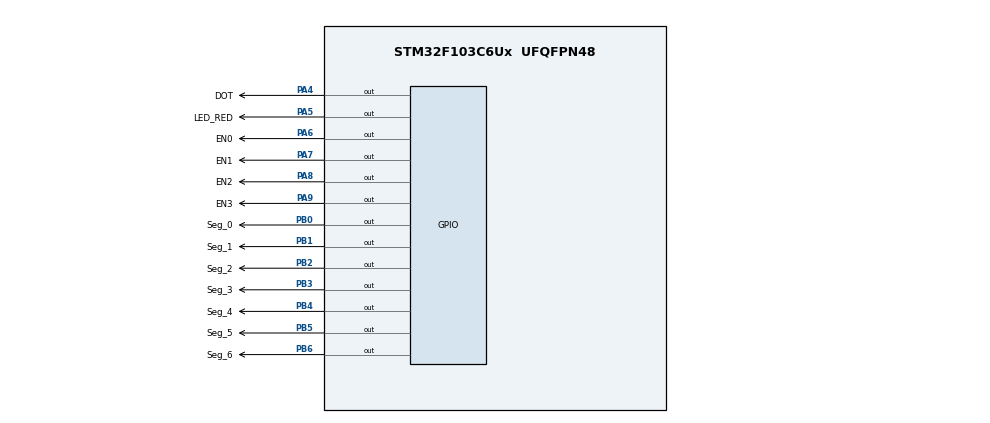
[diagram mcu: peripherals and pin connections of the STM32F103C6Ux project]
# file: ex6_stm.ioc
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Mcu.Family=STM32F1
Mcu.Name=STM32F103C6Ux
Mcu.Package=UFQFPN48
NVIC.PriorityGroup=NVIC_PRIORITYGROUP_4
NVIC.TIM2_IRQn=true\:0\:0\:false\:false\:true\:true\:true
PA4.GPIO_Label=DOT
PA4.Signal=GPIO_Output
PA5.GPIO_Label=LED_RED
PA5.Signal=GPIO_Output
PA6.GPIO_Label=EN0
PA6.Signal=GPIO_Output
PA7.GPIO_Label=EN1
PA7.Signal=GPIO_Output
PA8.GPIO_Label=EN2
PA8.Signal=GPIO_Output
PA9.GPIO_Label=EN3
PA9.Signal=GPIO_Output
PB0.GPIO_Label=Seg_0
PB0.Signal=GPIO_Output
PB1.GPIO_Label=Seg_1
PB1.Signal=GPIO_Output
PB2.GPIO_Label=Seg_2
PB2.Signal=GPIO_Output
PB3.GPIO_Label=Seg_3
PB3.Signal=GPIO_Output
PB4.GPIO_Label=Seg_4
PB4.Signal=GPIO_Output
PB5.GPIO_Label=Seg_5
PB5.Signal=GPIO_Output
PB6.GPIO_Label=Seg_6
PB6.Signal=GPIO_Output
ProjectManager.HeapSize=0x200
ProjectManager.StackSize=0x400
ProjectManager.TargetToolchain=STM32CubeIDE
RCC.APB1Freq_Value=8000000
RCC.APB2Freq_Value=8000000
TIM2.Period=9
TIM2.Prescaler=7999
VP_SYS_VS_ND.Mode=No_Debug
VP_TIM2_VS_ClockSourceINT.Mode=Internal
board=custom

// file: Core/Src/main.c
/* USER CODE BEGIN Header */
/**
  ******************************************************************************
  * @file           : main.c
  * @brief          : Main program body
  ******************************************************************************
  * @attention
  *
  * <h2><center>&copy; Copyright (c) 2023 STMicroelectronics.
  * All rights reserved.</center></h2>
  *
  * This software component is licensed by ST under BSD 3-Clause license,
  * the "License"; You may not use this file except in compliance with the
  * License. You may obtain a copy of the License at:
  *                        opensource.org/licenses/BSD-3-Clause
  *
  ******************************************************************************
  */
/* USER CODE END Header */
#include "main.h"

TIM_HandleTypeDef htim2;

void SystemClock_Config(void);
static void MX_GPIO_Init(void);
static void MX_TIM2_Init(void);

/* USER CODE BEGIN 0 */

int timer0_flag = 0;
int timer0_counter = 0;
int TIMER_CYCLE = 10;

void setTimer0(int duration)
{
	timer0_counter = duration/TIMER_CYCLE;
	timer0_flag = 0;
}

void timerRun()
{
	if(timer0_counter > 0){
		timer0_counter--;
		if(timer0_counter <= 0){
			timer0_flag = 1;
		}
	}
}
int hour, minute, second;
const int MAX_LED = 4;
int index_led = 0;
int led_buffer [4] = {6, 7, 8, 9};
int counter_LEDRED = 100;
int counter_LED7SEG = 25;

void updateClockBuffer ()
{
	led_buffer[0] = hour / 10;
	led_buffer [1] = hour % 10;
	led_buffer [2] = minute / 10;
	led_buffer [3] = minute % 10;
}
/* USER CODE END 0 */

int main(void)
{

  /* MCU Configuration--------------------------------------------------------*/

  /* Reset of all peripherals, Initializes the Flash interface and the Systick. */
  HAL_Init();

  /* Configure the system clock */
  SystemClock_Config();

  /* Initialize all configured peripherals */
  MX_GPIO_Init();
  MX_TIM2_Init();
  /* USER CODE BEGIN 2 */
  HAL_TIM_Base_Start_IT (& htim2 ) ;
  /* USER CODE END 2 */

  /* Infinite loop */
  /* USER CODE BEGIN WHILE */
  setTimer0(1000);
  while (1)
  {
    /* USER CODE END WHILE */

    /* USER CODE BEGIN 3 */
	  if(timer0_flag == 1)
	  {
		  HAL_GPIO_TogglePin(LED_RED_GPIO_Port, LED_RED_Pin);
		  setTimer0(1000);
	  }
  }
  /* USER CODE END 3 */
}

void SystemClock_Config(void)
{
  RCC_OscInitTypeDef RCC_OscInitStruct = {0};
  RCC_ClkInitTypeDef RCC_ClkInitStruct = {0};

  /** Initializes the RCC Oscillators according to the specified parameters
  * in the RCC_OscInitTypeDef structure.
  */
  RCC_OscInitStruct.OscillatorType = RCC_OSCILLATORTYPE_HSI;
  RCC_OscInitStruct.HSIState = RCC_HSI_ON;
  RCC_OscInitStruct.HSICalibrationValue = RCC_HSICALIBRATION_DEFAULT;
  RCC_OscInitStruct.PLL.PLLState = RCC_PLL_NONE;
  if (HAL_RCC_OscConfig(&RCC_OscInitStruct) != HAL_OK)
  {
    Error_Handler();
  }
  /** Initializes the CPU, AHB and APB buses clocks
  */
  RCC_ClkInitStruct.ClockType = RCC_CLOCKTYPE_HCLK|RCC_CLOCKTYPE_SYSCLK
                              |RCC_CLOCKTYPE_PCLK1|RCC_CLOCKTYPE_PCLK2;
  RCC_ClkInitStruct.SYSCLKSource = RCC_SYSCLKSOURCE_HSI;
  RCC_ClkInitStruct.AHBCLKDivider = RCC_SYSCLK_DIV1;
  RCC_ClkInitStruct.APB1CLKDivider = RCC_HCLK_DIV1;
  RCC_ClkInitStruct.APB2CLKDivider = RCC_HCLK_DIV1;

  if (HAL_RCC_ClockConfig(&RCC_ClkInitStruct, FLASH_LATENCY_0) != HAL_OK)
  {
    Error_Handler();
  }
}

static void MX_TIM2_Init(void)
{

  TIM_ClockConfigTypeDef sClockSourceConfig = {0};
  TIM_MasterConfigTypeDef sMasterConfig = {0};

  htim2.Instance = TIM2;
  htim2.Init.Prescaler = 7999;
  htim2.Init.CounterMode = TIM_COUNTERMODE_UP;
  htim2.Init.Period = 9;
  htim2.Init.ClockDivision = TIM_CLOCKDIVISION_DIV1;
  htim2.Init.AutoReloadPreload = TIM_AUTORELOAD_PRELOAD_DISABLE;
  if (HAL_TIM_Base_Init(&htim2) != HAL_OK)
  {
    Error_Handler();
  }
  sClockSourceConfig.ClockSource = TIM_CLOCKSOURCE_INTERNAL;
  if (HAL_TIM_ConfigClockSource(&htim2, &sClockSourceConfig) != HAL_OK)
  {
    Error_Handler();
  }
  sMasterConfig.MasterOutputTrigger = TIM_TRGO_RESET;
  sMasterConfig.MasterSlaveMode = TIM_MASTERSLAVEMODE_DISABLE;
  if (HAL_TIMEx_MasterConfigSynchronization(&htim2, &sMasterConfig) != HAL_OK)
  {
    Error_Handler();
  }

}

static void MX_GPIO_Init(void)
{
  GPIO_InitTypeDef GPIO_InitStruct = {0};

  /* GPIO Ports Clock Enable */
  __HAL_RCC_GPIOA_CLK_ENABLE();
  __HAL_RCC_GPIOB_CLK_ENABLE();

  /*Configure GPIO pin Output Level */
  HAL_GPIO_WritePin(GPIOA, DOT_Pin|LED_RED_Pin|EN0_Pin|EN1_Pin
                          |EN2_Pin|EN3_Pin, GPIO_PIN_RESET);

  /*Configure GPIO pin Output Level */
  HAL_GPIO_WritePin(GPIOB, Seg_0_Pin|Seg_1_Pin|Seg_2_Pin|Seg_3_Pin
                          |Seg_4_Pin|Seg_5_Pin|Seg_6_Pin, GPIO_PIN_RESET);

  /*Configure GPIO pins : DOT_Pin LED_RED_Pin EN0_Pin EN1_Pin
                           EN2_Pin EN3_Pin */
  GPIO_InitStruct.Pin = DOT_Pin|LED_RED_Pin|EN0_Pin|EN1_Pin
                          |EN2_Pin|EN3_Pin;
  GPIO_InitStruct.Mode = GPIO_MODE_OUTPUT_PP;
  GPIO_InitStruct.Pull = GPIO_NOPULL;
  GPIO_InitStruct.Speed = GPIO_SPEED_FREQ_LOW;
  HAL_GPIO_Init(GPIOA, &GPIO_InitStruct);

  /*Configure GPIO pins : Seg_0_Pin Seg_1_Pin Seg_2_Pin Seg_3_Pin
                           Seg_4_Pin Seg_5_Pin Seg_6_Pin */
  GPIO_InitStruct.Pin = Seg_0_Pin|Seg_1_Pin|Seg_2_Pin|Seg_3_Pin
                          |Seg_4_Pin|Seg_5_Pin|Seg_6_Pin;
  GPIO_InitStruct.Mode = GPIO_MODE_OUTPUT_PP;
  GPIO_InitStruct.Pull = GPIO_NOPULL;
  GPIO_InitStruct.Speed = GPIO_SPEED_FREQ_LOW;
  HAL_GPIO_Init(GPIOB, &GPIO_InitStruct);

}

/* USER CODE BEGIN 4 */
void display7SEG(int num ) {

	HAL_GPIO_WritePin ( GPIOB , GPIO_PIN_0|GPIO_PIN_1|GPIO_PIN_2|GPIO_PIN_3|GPIO_PIN_4|GPIO_PIN_5|GPIO_PIN_6 , GPIO_PIN_SET ) ;
	switch (num) {
        case 0:
        	HAL_GPIO_WritePin ( GPIOB , GPIO_PIN_0|GPIO_PIN_1|GPIO_PIN_2|GPIO_PIN_3|GPIO_PIN_4|GPIO_PIN_5 , GPIO_PIN_RESET ) ;
            break;
        case 1:
        	HAL_GPIO_WritePin ( GPIOB , GPIO_PIN_1|GPIO_PIN_2 , GPIO_PIN_RESET ) ;
            break;
        case 2:
        	HAL_GPIO_WritePin ( GPIOB , GPIO_PIN_0|GPIO_PIN_1|GPIO_PIN_3|GPIO_PIN_4|GPIO_PIN_6 , GPIO_PIN_RESET ) ;
            break;
        case 3:
        	HAL_GPIO_WritePin ( GPIOB , GPIO_PIN_0|GPIO_PIN_1|GPIO_PIN_2|GPIO_PIN_3|GPIO_PIN_6 , GPIO_PIN_RESET ) ;
            break;
        case 4:
        	HAL_GPIO_WritePin ( GPIOB , GPIO_PIN_1|GPIO_PIN_2|GPIO_PIN_5|GPIO_PIN_6 , GPIO_PIN_RESET ) ;
            break;
        case 5:
        	HAL_GPIO_WritePin ( GPIOB , GPIO_PIN_0|GPIO_PIN_2|GPIO_PIN_3|GPIO_PIN_5|GPIO_PIN_6 , GPIO_PIN_RESET ) ;
            break;
        case 6:
        	HAL_GPIO_WritePin ( GPIOB , GPIO_PIN_0|GPIO_PIN_2|GPIO_PIN_3|GPIO_PIN_4|GPIO_PIN_5|GPIO_PIN_6 , GPIO_PIN_RESET ) ;
            break;
        case 7:
        	HAL_GPIO_WritePin ( GPIOB , GPIO_PIN_0|GPIO_PIN_1|GPIO_PIN_2, GPIO_PIN_RESET ) ;
            break;
        case 8:
        	HAL_GPIO_WritePin ( GPIOB , GPIO_PIN_0|GPIO_PIN_1|GPIO_PIN_2|GPIO_PIN_3|GPIO_PIN_4|GPIO_PIN_5|GPIO_PIN_6 , GPIO_PIN_RESET ) ;
            break;
        case 9:
        	HAL_GPIO_WritePin ( GPIOB , GPIO_PIN_0|GPIO_PIN_1|GPIO_PIN_2|GPIO_PIN_3|GPIO_PIN_5|GPIO_PIN_6 , GPIO_PIN_RESET ) ;
            break;

    }
}

void update7SEG (int state)
{
	 switch ( state ) {
		         case 0:
					HAL_GPIO_WritePin(GPIOA, GPIO_PIN_6, GPIO_PIN_RESET);
					HAL_GPIO_WritePin(GPIOA, GPIO_PIN_7, GPIO_PIN_SET);
					HAL_GPIO_WritePin(GPIOA, GPIO_PIN_8, GPIO_PIN_SET);
					HAL_GPIO_WritePin(GPIOA, GPIO_PIN_9, GPIO_PIN_SET);
					display7SEG(led_buffer[0]);
					state = 1;
	                break;
		         case 1:
					HAL_GPIO_WritePin(GPIOA, GPIO_PIN_6, GPIO_PIN_SET);
					HAL_GPIO_WritePin(GPIOA, GPIO_PIN_7, GPIO_PIN_RESET);
					HAL_GPIO_WritePin(GPIOA, GPIO_PIN_8, GPIO_PIN_SET);
					HAL_GPIO_WritePin(GPIOA, GPIO_PIN_9, GPIO_PIN_SET);
					display7SEG(led_buffer[1]);
					state = 2;
					break;
		         case 2:
					HAL_GPIO_WritePin(GPIOA, GPIO_PIN_6, GPIO_PIN_SET);
					HAL_GPIO_WritePin(GPIOA, GPIO_PIN_7, GPIO_PIN_SET);
					HAL_GPIO_WritePin(GPIOA, GPIO_PIN_8, GPIO_PIN_RESET);
					HAL_GPIO_WritePin(GPIOA, GPIO_PIN_9, GPIO_PIN_SET);
					display7SEG(led_buffer[2]);
					state = 3;
					break;
		         case 3:
					HAL_GPIO_WritePin(GPIOA, GPIO_PIN_6, GPIO_PIN_SET);
					HAL_GPIO_WritePin(GPIOA, GPIO_PIN_7, GPIO_PIN_SET);
					HAL_GPIO_WritePin(GPIOA, GPIO_PIN_8, GPIO_PIN_SET);
					HAL_GPIO_WritePin(GPIOA, GPIO_PIN_9, GPIO_PIN_RESET);
					display7SEG(led_buffer[3]);
					state = 0;
					break;
		         default:
		        	 break;
		     }
}

void HAL_TIM_PeriodElapsedCallback ( TIM_HandleTypeDef * htim )
{
	timerRun();
}

/* USER CODE END 4 */

void Error_Handler(void)
{
  __disable_irq();
  while (1)
  {
  }
}

/************************ (C) COPYRIGHT STMicroelectronics *****END OF FILE****/
